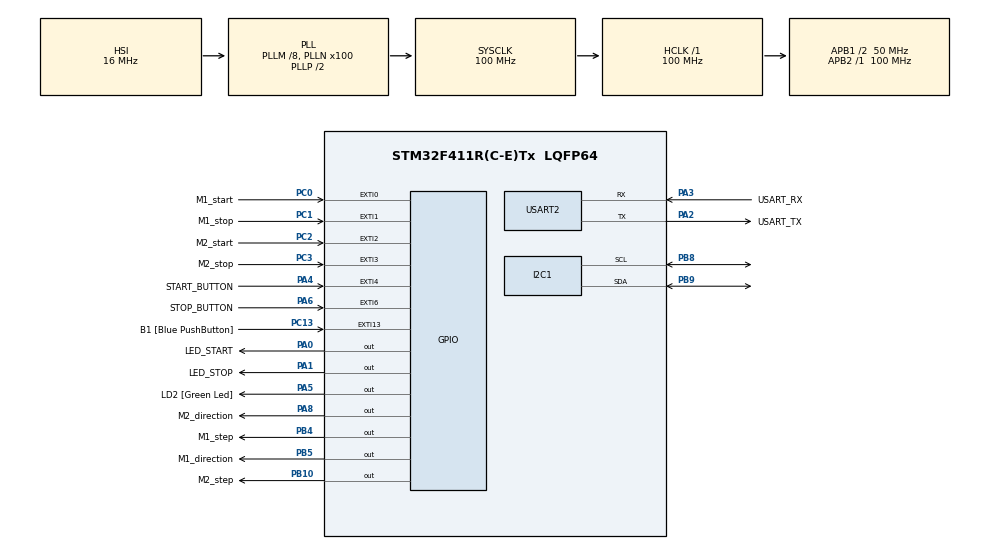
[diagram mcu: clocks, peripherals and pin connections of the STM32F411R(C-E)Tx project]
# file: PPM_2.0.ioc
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Dma.Request0=USART2_RX
Dma.Request1=USART2_TX
Dma.USART2_RX.0.Direction=DMA_PERIPH_TO_MEMORY
Dma.USART2_RX.0.FIFOMode=DMA_FIFOMODE_DISABLE
Dma.USART2_RX.0.Instance=DMA1_Stream5
Dma.USART2_RX.0.MemDataAlignment=DMA_MDATAALIGN_BYTE
Dma.USART2_RX.0.MemInc=DMA_MINC_ENABLE
Dma.USART2_RX.0.Mode=DMA_NORMAL
Dma.USART2_RX.0.PeriphDataAlignment=DMA_PDATAALIGN_BYTE
Dma.USART2_RX.0.PeriphInc=DMA_PINC_DISABLE
Dma.USART2_RX.0.Priority=DMA_PRIORITY_LOW
Dma.USART2_TX.1.Direction=DMA_MEMORY_TO_PERIPH
Dma.USART2_TX.1.FIFOMode=DMA_FIFOMODE_DISABLE
Dma.USART2_TX.1.Instance=DMA1_Stream6
Dma.USART2_TX.1.MemDataAlignment=DMA_MDATAALIGN_BYTE
Dma.USART2_TX.1.MemInc=DMA_MINC_ENABLE
Dma.USART2_TX.1.Mode=DMA_NORMAL
Dma.USART2_TX.1.PeriphDataAlignment=DMA_PDATAALIGN_BYTE
Dma.USART2_TX.1.PeriphInc=DMA_PINC_DISABLE
Dma.USART2_TX.1.Priority=DMA_PRIORITY_LOW
Mcu.Family=STM32F4
Mcu.Name=STM32F411R(C-E)Tx
Mcu.Package=LQFP64
NVIC.DMA1_Stream5_IRQn=true\:0\:0\:false\:false\:true\:false\:true\:true
NVIC.DMA1_Stream6_IRQn=true\:0\:0\:false\:false\:true\:false\:true\:true
NVIC.EXTI0_IRQn=true\:0\:0\:false\:false\:true\:true\:true\:true
NVIC.EXTI1_IRQn=true\:0\:0\:false\:false\:true\:true\:true\:true
NVIC.EXTI2_IRQn=true\:0\:0\:false\:false\:true\:true\:true\:true
NVIC.EXTI3_IRQn=true\:0\:0\:false\:false\:true\:true\:true\:true
NVIC.EXTI4_IRQn=true\:0\:0\:false\:false\:true\:true\:true\:true
NVIC.EXTI9_5_IRQn=true\:0\:0\:false\:false\:true\:true\:true\:true
NVIC.PriorityGroup=NVIC_PRIORITYGROUP_0
NVIC.TIM1_UP_TIM10_IRQn=true\:0\:0\:false\:false\:true\:true\:true\:true
NVIC.USART2_IRQn=true\:0\:0\:false\:false\:true\:true\:true\:true
PA0-WKUP.GPIO_Label=LED_START
PA0-WKUP.Signal=GPIO_Output
PA1.GPIO_Label=LED_STOP
PA1.Signal=GPIO_Output
PA13.GPIO_Label=TMS
PA13.Mode=Serial_Wire
PA13.Signal=SYS_JTMS-SWDIO
PA14.GPIO_Label=TCK
PA14.Mode=Serial_Wire
PA14.Signal=SYS_JTCK-SWCLK
PA2.GPIO_Label=USART_TX
PA2.Mode=Asynchronous
PA2.Signal=USART2_TX
PA3.GPIO_Label=USART_RX
PA3.Mode=Asynchronous
PA3.Signal=USART2_RX
PA4.GPIO_Label=START_BUTTON
PA4.GPIO_PuPd=GPIO_PULLDOWN
PA4.Signal=GPXTI4
PA5.GPIO_Label=LD2 [Green Led]
PA5.Signal=GPIO_Output
PA6.GPIO_Label=STOP_BUTTON
PA6.GPIO_PuPd=GPIO_PULLDOWN
PA6.Signal=GPXTI6
PA8.GPIO_Label=M2_direction
PA8.Signal=GPIO_Output
PB10.GPIO_Label=M2_step
PB10.Signal=GPIO_Output
PB3.GPIO_Label=SWO
PB3.Signal=SYS_JTDO-SWO
PB4.GPIO_Label=M1_step
PB4.Signal=GPIO_Output
PB5.GPIO_Label=M1_direction
PB5.Signal=GPIO_Output
PB8.Mode=I2C
PB8.Signal=I2C1_SCL
PB9.Mode=I2C
PB9.Signal=I2C1_SDA
PC0.GPIO_Label=M1_start
PC0.GPIO_PuPd=GPIO_PULLDOWN
PC0.Signal=GPXTI0
PC1.GPIO_Label=M1_stop
PC1.GPIO_PuPd=GPIO_PULLDOWN
PC1.Signal=GPXTI1
PC13-ANTI_TAMP.GPIO_Label=B1 [Blue PushButton]
PC13-ANTI_TAMP.GPIO_ModeDefaultEXTI=GPIO_MODE_IT_FALLING
PC13-ANTI_TAMP.GPIO_PuPd=GPIO_PULLDOWN
PC13-ANTI_TAMP.Signal=GPXTI13
PC14-OSC32_IN.Mode=LSE-External-Oscillator
PC14-OSC32_IN.Signal=RCC_OSC32_IN
PC15-OSC32_OUT.Mode=LSE-External-Oscillator
PC15-OSC32_OUT.Signal=RCC_OSC32_OUT
PC2.GPIO_Label=M2_start
PC2.GPIO_PuPd=GPIO_PULLDOWN
PC2.Signal=GPXTI2
PC3.GPIO_Label=M2_stop
PC3.GPIO_PuPd=GPIO_PULLDOWN
PC3.Signal=GPXTI3
PH0\ -\ OSC_IN.Mode=HSE-External-Clock-Source
PH0\ -\ OSC_IN.Signal=RCC_OSC_IN
PH1\ -\ OSC_OUT.Mode=HSE-External-Clock-Source
PH1\ -\ OSC_OUT.Signal=RCC_OSC_OUT
ProjectManager.HeapSize=0x200
ProjectManager.StackSize=0x400
ProjectManager.TargetToolchain=STM32CubeIDE
RCC.48MHZClocksFreq_Value=50000000
RCC.AHBFreq_Value=100000000
RCC.APB1CLKDivider=RCC_HCLK_DIV2
RCC.APB1Freq_Value=50000000
RCC.APB1TimFreq_Value=100000000
RCC.APB2Freq_Value=100000000
RCC.APB2TimFreq_Value=100000000
RCC.CortexFreq_Value=100000000
RCC.FLatency-AdvancedSettings=FLASH_LATENCY_3
RCC.HCLKFreq_Value=100000000
RCC.HSE_VALUE=8000000
RCC.HSI_VALUE=16000000
RCC.PLLM=8
RCC.PLLN=100
RCC.SYSCLKFreq_VALUE=100000000
RCC.SYSCLKSource=RCC_SYSCLKSOURCE_PLLCLK
RCC.VCOOutputFreq_Value=200000000
TIM10.AutoReloadPreload=TIM_AUTORELOAD_PRELOAD_ENABLE
TIM10.Period=1999
TIM10.Prescaler=9999
USART2.VirtualMode=VM_ASYNC
VP_TIM10_VS_ClockSourceINT.Mode=Enable_Timer
board=NUCLEO-F411RE

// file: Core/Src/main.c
/* USER CODE BEGIN Header */
/**
  ******************************************************************************
  * @file           : main.c
  * @brief          : Main program body
  ******************************************************************************
  * @attention
  *
  * Copyright (c) 2023 STMicroelectronics.
  * All rights reserved.
  *
  * This software is licensed under terms that can be found in the LICENSE file
  * in the root directory of this software component.
  * If no LICENSE file comes with this software, it is provided AS-IS.
  *
  ******************************************************************************
  */
/* USER CODE END Header */
#include "main.h"
#include "dma.h"
#include "i2c.h"
#include "tim.h"
#include "usart.h"
#include "gpio.h"

/* USER CODE BEGIN Includes */
#include "stdbool.h"
#include "stdio.h"
#include "ADS1115.h"
#include "LCD_I2C.h"
#include "PR_INZ.h"
#include "string.h"
#include "NVIC_Service.h"
/* USER CODE END Includes */

/* USER CODE BEGIN PTD */
ADS1115_InitTypeDef ADS1115;
LCD_InitTypeDef 	LCD1;
PR_INZ_InitTypeDef 	PRINZ1;
/* USER CODE END PTD */

/* USER CODE BEGIN PV */
uint8_t steps[COUNT_MAX] ={106,106,106,106,106,106,106,106,106,106,
		   106,106,106,106,106,106,106,106,106,106,
		   106,106,106,106,106,106,106,106,106,106,
		   106,106,106,106,106,106,106,106,106,106,
		   106,106,106,106,106,106,106,106,106,106};
/* USER CODE END PV */

void SystemClock_Config(void);

/* USER CODE BEGIN 0 */
void HAL_TIM_PeriodElapsedCallback(TIM_HandleTypeDef *htim){
	if(htim->Instance==TIM10){
		if(!PRINZ1.movement_ok_flag) PRINZ1.movement_ok_flag=1;
	}
}
/* USER CODE END 0 */

int main(void)
{

  /* MCU Configuration--------------------------------------------------------*/

  /* Reset of all peripherals, Initializes the Flash interface and the Systick. */
  HAL_Init();

  /* Configure the system clock */
  SystemClock_Config();

  /* Initialize all configured peripherals */
  MX_GPIO_Init();
  MX_DMA_Init();
  MX_USART2_UART_Init();
  MX_I2C1_Init();
  MX_TIM10_Init();
  /* USER CODE BEGIN 2 */
  LCD_Init(&LCD1);
  HAL_UART_Receive_DMA(&huart2,(uint8_t*)Rx_data,sizeof(Rx_data));
  LCD_Set_Cursor(0, 0, &LCD1);
  LCD_Print("Ready to measure",&LCD1);
  memcpy(PRINZ1.MotorSteps,steps,COUNT_MAX);

  /* USER CODE END 2 */

  /* Infinite loop */
  /* USER CODE BEGIN WHILE */
  while (1)
  {
	  if(Receive_Callback_Flag) UART_Service();

	  if(PRINZ1.type_of_task!=STANDBY)PR_INZ_Service();

    /* USER CODE END WHILE */

  }
}

void SystemClock_Config(void)
{
  RCC_OscInitTypeDef RCC_OscInitStruct = {0};
  RCC_ClkInitTypeDef RCC_ClkInitStruct = {0};

  /** Configure the main internal regulator output voltage
  */
  __HAL_RCC_PWR_CLK_ENABLE();
  __HAL_PWR_VOLTAGESCALING_CONFIG(PWR_REGULATOR_VOLTAGE_SCALE1);

  /** Initializes the RCC Oscillators according to the specified parameters
  * in the RCC_OscInitTypeDef structure.
  */
  RCC_OscInitStruct.OscillatorType = RCC_OSCILLATORTYPE_HSI;
  RCC_OscInitStruct.HSIState = RCC_HSI_ON;
  RCC_OscInitStruct.HSICalibrationValue = RCC_HSICALIBRATION_DEFAULT;
  RCC_OscInitStruct.PLL.PLLState = RCC_PLL_ON;
  RCC_OscInitStruct.PLL.PLLSource = RCC_PLLSOURCE_HSI;
  RCC_OscInitStruct.PLL.PLLM = 8;
  RCC_OscInitStruct.PLL.PLLN = 100;
  RCC_OscInitStruct.PLL.PLLP = RCC_PLLP_DIV2;
  RCC_OscInitStruct.PLL.PLLQ = 4;
  if (HAL_RCC_OscConfig(&RCC_OscInitStruct) != HAL_OK)
  {
    Error_Handler();
  }

  /** Initializes the CPU, AHB and APB buses clocks
  */
  RCC_ClkInitStruct.ClockType = RCC_CLOCKTYPE_HCLK|RCC_CLOCKTYPE_SYSCLK
                              |RCC_CLOCKTYPE_PCLK1|RCC_CLOCKTYPE_PCLK2;
  RCC_ClkInitStruct.SYSCLKSource = RCC_SYSCLKSOURCE_PLLCLK;
  RCC_ClkInitStruct.AHBCLKDivider = RCC_SYSCLK_DIV1;
  RCC_ClkInitStruct.APB1CLKDivider = RCC_HCLK_DIV2;
  RCC_ClkInitStruct.APB2CLKDivider = RCC_HCLK_DIV1;

  if (HAL_RCC_ClockConfig(&RCC_ClkInitStruct, FLASH_LATENCY_3) != HAL_OK)
  {
    Error_Handler();
  }
}

void Error_Handler(void)
{
  __disable_irq();
  while (1)
  {
  }
}
